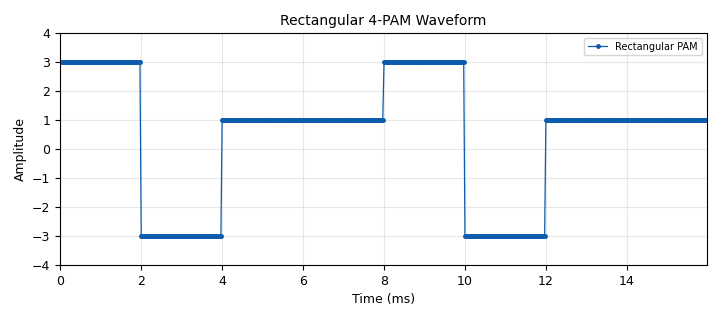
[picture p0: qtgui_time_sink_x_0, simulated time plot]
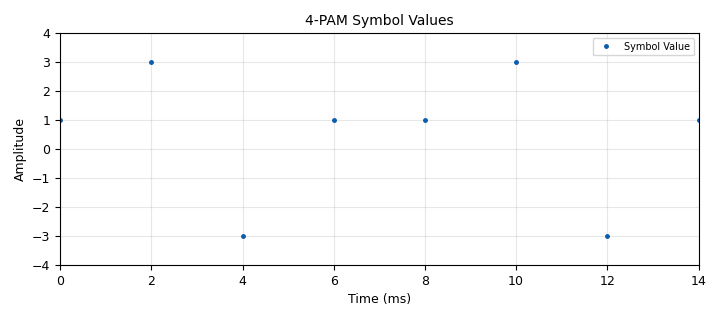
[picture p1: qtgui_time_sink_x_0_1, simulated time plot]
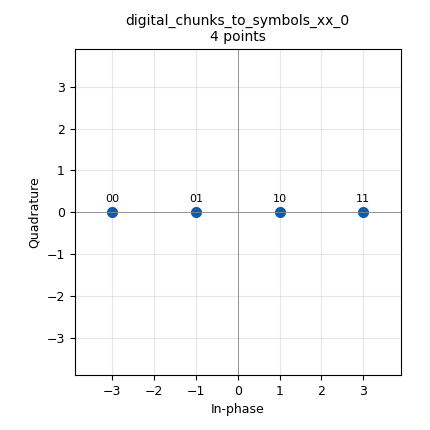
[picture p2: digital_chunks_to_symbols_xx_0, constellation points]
options:
  parameters:
    author: Dhrubjun
    generate_options: qt_gui
    id: exp2
    output_language: python
    title: Rectangular PAM Waveform
  states: {}

blocks:
- name: bit_rate
  id: variable
  parameters:
    value: '1000'
  states: {}
- name: bits_per_symbol
  id: variable
  parameters:
    value: '2'
  states: {}
- name: samp_rate
  id: variable
  parameters:
    value: '32000'
  states: {}
- name: samples_per_symbol
  id: variable
  parameters:
    value: int(samp_rate / symbol_rate)
  states: {}
- name: symbol_rate
  id: variable
  parameters:
    value: bit_rate / bits_per_symbol
  states: {}
- name: blocks_repack_bits_bb_0_0
  id: blocks_repack_bits_bb
  parameters:
    endianness: gr.GR_MSB_FIRST
    k: '1'
    l: '2'
  states: {}
- name: blocks_repeat_0
  id: blocks_repeat
  parameters:
    interp: samples_per_symbol
    type: float
  states: {}
- name: blocks_throttle2_0
  id: blocks_throttle2
  parameters:
    samples_per_second: samp_rate
    type: float
  states: {}
- name: blocks_throttle2_0_1
  id: blocks_throttle2
  parameters:
    samples_per_second: samp_rate
    type: float
  states: {}
- name: blocks_vector_source_x_0
  id: blocks_vector_source_x
  parameters:
    repeat: 'True'
    type: byte
    vector: (1, 0, 1, 1, 0, 0, 1, 0)
  states: {}
- name: digital_chunks_to_symbols_xx_0
  id: digital_chunks_to_symbols_xx
  parameters:
    dimension: '1'
    in_type: byte
    out_type: float
    symbol_table: '[-3, -1, 1, 3]'
  states: {}
- name: qtgui_time_sink_x_0
  id: qtgui_time_sink_x
  parameters:
    grid: 'True'
    label1: Rectangular PAM
    marker1: '0'
    name: Rectangular 4-PAM Waveform
    size: '512'
    srate: samp_rate
    style1: '2'
    type: float
    update_time: '2'
    ymax: '4'
    ymin: '-4'
  states: {}
- name: qtgui_time_sink_x_0_1
  id: qtgui_time_sink_x
  parameters:
    color1: red
    grid: 'True'
    gui_hint: (0,1,1,1)
    label1: Symbol Value
    marker1: '0'
    name: 4-PAM Symbol Values
    size: '8'
    srate: symbol_rate
    style1: '0'
    type: float
    update_time: '2'
    width1: '2'
    ymax: '4'
    ymin: '-4'
  states: {}

connections:
- [blocks_repack_bits_bb_0_0, '0', digital_chunks_to_symbols_xx_0, '0']
- [blocks_repeat_0, '0', blocks_throttle2_0, '0']
- [blocks_throttle2_0, '0', qtgui_time_sink_x_0, '0']
- [blocks_throttle2_0_1, '0', qtgui_time_sink_x_0_1, '0']
- [blocks_vector_source_x_0, '0', blocks_repack_bits_bb_0_0, '0']
- [digital_chunks_to_symbols_xx_0, '0', blocks_repeat_0, '0']
- [digital_chunks_to_symbols_xx_0, '0', blocks_throttle2_0_1, '0']

metadata:
  file_format: 1
  grc_version: 3.10.12.0
